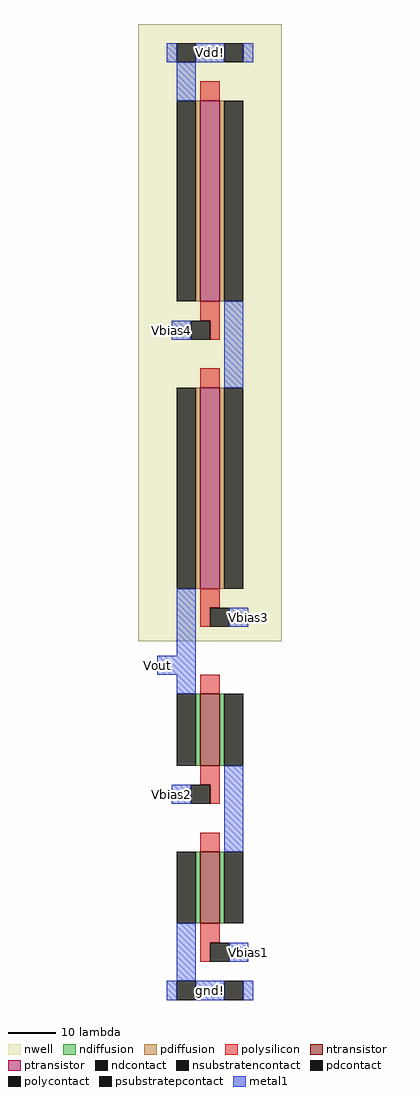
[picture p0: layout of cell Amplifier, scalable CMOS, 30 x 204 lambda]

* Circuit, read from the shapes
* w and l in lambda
.subckt Amplifier Vbias1 Vbias2 Vbias3 Vbias4 Vdd! Vout gnd!
M1 n1 Vbias1 gnd! gnd! nfet w=15 l=4
M2 n1 Vbias2 Vout gnd! nfet w=15 l=4
M3 n2 Vbias3 Vout Vdd! pfet w=42 l=4
M4 n2 Vbias4 Vdd! Vdd! pfet w=42 l=4
.ends

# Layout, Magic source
magic
tech scmos
<< nwell >>
rect -15 -71 15 58
<< ntransistor >>
rect -2 -97 2 -82
rect -2 -130 2 -115
<< ptransistor >>
rect -2 0 2 42
rect -2 -60 2 -18
<< ndiffusion >>
rect -3 -97 -2 -82
rect 2 -97 3 -82
rect -3 -130 -2 -115
rect 2 -130 3 -115
<< pdiffusion >>
rect -3 0 -2 42
rect 2 0 3 42
rect -3 -60 -2 -18
rect 2 -60 3 -18
<< ndcontact >>
rect -7 -97 -3 -82
rect 3 -97 7 -82
rect -7 -130 -3 -115
rect 3 -130 7 -115
<< pdcontact >>
rect -7 0 -3 42
rect 3 0 7 42
rect -7 -60 -3 -18
rect 3 -60 7 -18
<< psubstratepcontact >>
rect -7 -146 -3 -142
rect 3 -146 7 -142
<< nsubstratencontact >>
rect -7 50 -3 54
rect 3 50 7 54
<< polysilicon >>
rect -2 42 2 46
rect -2 -4 2 0
rect 0 -8 2 -4
rect -2 -18 2 -14
rect -2 -64 2 -60
rect -2 -68 0 -64
rect -2 -82 2 -78
rect -2 -101 2 -97
rect 0 -105 2 -101
rect -2 -115 2 -111
rect -2 -134 2 -130
rect -2 -138 0 -134
<< polycontact >>
rect -4 -8 0 -4
rect 0 -68 4 -64
rect -4 -105 0 -101
rect 0 -138 4 -134
<< metal1 >>
rect -9 50 -7 54
rect -3 50 3 54
rect 7 50 9 54
rect -7 42 -3 50
rect -8 -8 -4 -4
rect 3 -18 7 0
rect -7 -74 -3 -60
rect 4 -68 8 -64
rect -11 -78 -3 -74
rect -7 -82 -3 -78
rect -8 -105 -4 -101
rect 3 -115 7 -97
rect -7 -142 -3 -130
rect 4 -138 8 -134
rect -9 -146 -7 -142
rect -3 -146 3 -142
rect 7 -146 9 -142
<< labels >>
rlabel metal1 -8 -8 -8 -4 1 Vbias4
rlabel metal1 8 -68 8 -64 1 Vbias3
rlabel metal1 -8 -105 -8 -101 1 Vbias2
rlabel metal1 8 -138 8 -134 1 Vbias1
rlabel metal1 0 52 0 52 1 Vdd!
rlabel metal1 -11 -78 -11 -74 3 Vout
rlabel metal1 0 -144 0 -144 1 gnd!
<< end >>
